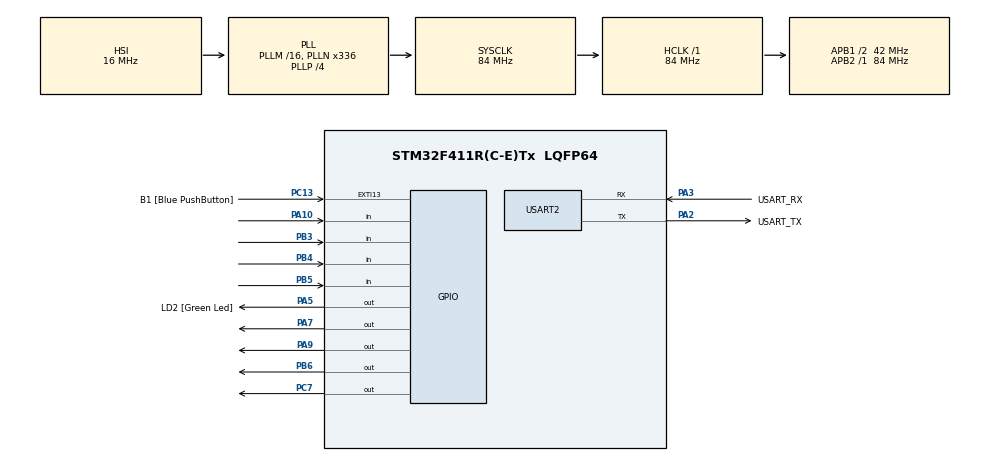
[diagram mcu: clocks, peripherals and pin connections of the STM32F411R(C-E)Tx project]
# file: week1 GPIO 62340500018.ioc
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Mcu.Family=STM32F4
Mcu.Name=STM32F411R(C-E)Tx
Mcu.Package=LQFP64
NVIC.PriorityGroup=NVIC_PRIORITYGROUP_0
PA10.Signal=GPIO_Input
PA13.GPIO_Label=TMS
PA13.Mode=Serial_Wire
PA13.Signal=SYS_JTMS-SWDIO
PA14.GPIO_Label=TCK
PA14.Mode=Serial_Wire
PA14.Signal=SYS_JTCK-SWCLK
PA2.GPIO_Label=USART_TX
PA2.Mode=Asynchronous
PA2.Signal=USART2_TX
PA3.GPIO_Label=USART_RX
PA3.Mode=Asynchronous
PA3.Signal=USART2_RX
PA5.GPIO_Label=LD2 [Green Led]
PA5.Signal=GPIO_Output
PA7.Signal=GPIO_Output
PA9.Signal=GPIO_Output
PB3.Signal=GPIO_Input
PB4.Signal=GPIO_Input
PB5.Signal=GPIO_Input
PB6.Signal=GPIO_Output
PC13-ANTI_TAMP.GPIO_Label=B1 [Blue PushButton]
PC13-ANTI_TAMP.GPIO_ModeDefaultEXTI=GPIO_MODE_IT_FALLING
PC13-ANTI_TAMP.Signal=GPXTI13
PC14-OSC32_IN.Mode=LSE-External-Oscillator
PC14-OSC32_IN.Signal=RCC_OSC32_IN
PC15-OSC32_OUT.Mode=LSE-External-Oscillator
PC15-OSC32_OUT.Signal=RCC_OSC32_OUT
PC7.Signal=GPIO_Output
PH0\ -\ OSC_IN.Mode=HSE-External-Clock-Source
PH0\ -\ OSC_IN.Signal=RCC_OSC_IN
PH1\ -\ OSC_OUT.Mode=HSE-External-Clock-Source
PH1\ -\ OSC_OUT.Signal=RCC_OSC_OUT
ProjectManager.HeapSize=0x200
ProjectManager.StackSize=0x400
ProjectManager.TargetToolchain=STM32CubeIDE
RCC.48MHZClocksFreq_Value=84000000
RCC.AHBFreq_Value=84000000
RCC.APB1CLKDivider=RCC_HCLK_DIV2
RCC.APB1Freq_Value=42000000
RCC.APB1TimFreq_Value=84000000
RCC.APB2Freq_Value=84000000
RCC.APB2TimFreq_Value=84000000
RCC.CortexFreq_Value=84000000
RCC.FLatency-AdvancedSettings=FLASH_LATENCY_2
RCC.HCLKFreq_Value=84000000
RCC.HSE_VALUE=8000000
RCC.HSI_VALUE=16000000
RCC.PLLN=336
RCC.PLLP=RCC_PLLP_DIV4
RCC.SYSCLKFreq_VALUE=84000000
RCC.SYSCLKSource=RCC_SYSCLKSOURCE_PLLCLK
RCC.VCOOutputFreq_Value=336000000
USART2.VirtualMode=VM_ASYNC
board=NUCLEO-F411RE

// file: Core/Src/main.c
/* USER CODE BEGIN Header */
/**
 ******************************************************************************
 * @file           : main.c
 * @brief          : Main program body
 ******************************************************************************
 * @attention
 *
 * <h2><center>&copy; Copyright (c) 2021 STMicroelectronics.
 * All rights reserved.</center></h2>
 *
 * This software component is licensed by ST under BSD 3-Clause license,
 * the "License"; You may not use this file except in compliance with the
 * License. You may obtain a copy of the License at:
 *                        opensource.org/licenses/BSD-3-Clause
 *
 ******************************************************************************
 */
/* USER CODE END Header */
#include "main.h"

UART_HandleTypeDef huart2;

void SystemClock_Config(void);
static void MX_GPIO_Init(void);
static void MX_USART2_UART_Init(void);

int main(void) {

	/* MCU Configuration--------------------------------------------------------*/

	/* Reset of all peripherals, Initializes the Flash interface and the Systick. */
	HAL_Init();

	/* Configure the system clock */
	SystemClock_Config();

	/* Initialize all configured peripherals */
	MX_GPIO_Init();
	MX_USART2_UART_Init();
	/* USER CODE BEGIN 2 */
	//--------------------------------------------------------------------------------------------------
	uint32_t ButtonTimeStamp = 0;

	GPIO_PinState Switch_1_State[2]; // now,last
	uint16_t LED1_frequency = 1; // 0.5Hz
	uint32_t LED1_TimeStamp = 0;

	GPIO_PinState Switch_2_State[2]; // now,last
	uint8_t Button2_Pressed = 0;

	GPIO_PinState Switch_3_State[2]; // now,last
	uint32_t LED3_TimeStamp = 0;
	uint8_t LED3_Mode = 1; //Normal
	uint16_t LED3_Time_1 = 1500;
	uint16_t LED3_Time_2 = 500;
	uint16_t LED3_ON = LED3_Time_2;
	uint16_t LED3_OFF = LED3_Time_1;

	GPIO_PinState Switch_4_State[2]; // now,last
	uint32_t LED4_TimeStamp = 0;
	uint16_t LED4_FullBilnk = 1;
	uint16_t LED4_TimeON = 0;
	uint16_t LED4_PWM = 0;

	//--------------------------------------------------------------------------------------------------
	/* USER CODE END 2 */

	/* Infinite loop */
	/* USER CODE BEGIN WHILE */
	while (1) {
		uint16_t LED1_HalfPeriod = 1000 / (LED1_frequency);
		if (HAL_GetTick() - ButtonTimeStamp >= 150) {
			// switch1 control
			Switch_1_State[0] = HAL_GPIO_ReadPin(GPIOA, GPIO_PIN_10);
			if (Switch_1_State[1] == GPIO_PIN_SET
					&& Switch_1_State[0] == GPIO_PIN_RESET) {
				// Change Half Period of LED 1
				switch (LED1_frequency) {
				case (1):
					LED1_frequency = 2;
					break;
				case (2):
					LED1_frequency = 4;
					break;
				case (4):
					LED1_frequency = 6;
					break;
				default:
					LED1_frequency = 1;
					break;
				}
			}
			Switch_1_State[1] = Switch_1_State[0];

			//switch2 control
			Switch_2_State[0] = HAL_GPIO_ReadPin(GPIOB, GPIO_PIN_3);
			if (Switch_2_State[1] == GPIO_PIN_SET
					&& Switch_2_State[0] == GPIO_PIN_RESET) {
				// Change LED 2
				if (HAL_GPIO_ReadPin(GPIOC, GPIO_PIN_7) == GPIO_PIN_SET) {
					HAL_GPIO_WritePin(GPIOC, GPIO_PIN_7, GPIO_PIN_RESET);
				} else {
					HAL_GPIO_WritePin(GPIOC, GPIO_PIN_7, GPIO_PIN_SET);
				}
			}
			Switch_2_State[1] = Switch_2_State[0];

			//switch3 control
			Switch_3_State[0] = HAL_GPIO_ReadPin(GPIOB, GPIO_PIN_5);
			if (Switch_3_State[1] == GPIO_PIN_SET
					&& Switch_3_State[0] == GPIO_PIN_RESET) {
				// Change LED 3
				if (LED3_Mode == 0) {
					LED3_ON = LED3_Time_1;
					LED3_OFF = LED3_Time_2;
					LED3_Mode = 1;
				} else {
					LED3_ON = LED3_Time_2;
					LED3_OFF = LED3_Time_1;
					LED3_Mode = 0;
				}

			}
			Switch_3_State[1] = Switch_3_State[0];

			//switch4 control
			Switch_4_State[0] = HAL_GPIO_ReadPin(GPIOB, GPIO_PIN_4);
			if (Switch_4_State[1] == GPIO_PIN_SET
					&& Switch_4_State[0] == GPIO_PIN_RESET) {
				// Change LED 4
				switch (LED4_PWM) {
				case (0):
					LED4_TimeON = LED4_FullBilnk * 0;
					LED4_PWM = 25;
				case (25):
					LED4_TimeON = LED4_FullBilnk * 25;
					LED4_PWM = 50;
				case (50):
					LED4_TimeON = LED4_FullBilnk * 50;
					LED4_PWM = 75;
				case (75):
					LED4_TimeON = LED4_FullBilnk * 75;
					LED4_PWM = 100;
				default:
					LED4_TimeON = LED4_FullBilnk;
					LED4_PWM = 0;
				}

			}
			Switch_4_State[1] = Switch_4_State[0];
		}
		// Run LED
		if (HAL_GetTick() - LED1_TimeStamp >= LED1_HalfPeriod) {
			LED1_TimeStamp = HAL_GetTick();
			if (HAL_GPIO_ReadPin(GPIOA, GPIO_PIN_9) == GPIO_PIN_SET) {
				HAL_GPIO_WritePin(GPIOA, GPIO_PIN_9, GPIO_PIN_RESET);
			} else {
				HAL_GPIO_WritePin(GPIOA, GPIO_PIN_9, GPIO_PIN_SET);
			}
		}

		if ((HAL_GPIO_ReadPin(GPIOB, GPIO_PIN_6) == GPIO_PIN_RESET)) {
			if (HAL_GetTick() - LED3_TimeStamp >= LED3_ON) {
				LED3_TimeStamp = HAL_GetTick();
				HAL_GPIO_WritePin(GPIOB, GPIO_PIN_6, GPIO_PIN_SET);
			}
		}
		if ((HAL_GPIO_ReadPin(GPIOB, GPIO_PIN_6) == GPIO_PIN_SET)) {
			if (HAL_GetTick() - LED3_TimeStamp >= LED3_OFF) {
				LED3_TimeStamp = HAL_GetTick();
				HAL_GPIO_WritePin(GPIOB, GPIO_PIN_6, GPIO_PIN_RESET);
			}
		}

		if ((HAL_GPIO_ReadPin(GPIOA, GPIO_PIN_7) == GPIO_PIN_RESET)) {
			if (HAL_GetTick() - LED4_TimeStamp
					>= LED4_TimeON) {
				LED4_TimeStamp = HAL_GetTick();
				HAL_GPIO_WritePin(GPIOA, GPIO_PIN_7, GPIO_PIN_SET);
			}
		}
		if ((HAL_GPIO_ReadPin(GPIOA, GPIO_PIN_7) == GPIO_PIN_SET)) {
			if (HAL_GetTick() - LED4_TimeStamp >= (LED4_FullBilnk - LED4_TimeON)) {
				LED4_TimeStamp = HAL_GetTick();
				HAL_GPIO_WritePin(GPIOA, GPIO_PIN_7, GPIO_PIN_RESET);
			}
		}
	}

	/* USER CODE END WHILE */

}

void SystemClock_Config(void) {
	RCC_OscInitTypeDef RCC_OscInitStruct = { 0 };
	RCC_ClkInitTypeDef RCC_ClkInitStruct = { 0 };

	/** Configure the main internal regulator output voltage
	 */
	__HAL_RCC_PWR_CLK_ENABLE();
	__HAL_PWR_VOLTAGESCALING_CONFIG(PWR_REGULATOR_VOLTAGE_SCALE1);
	/** Initializes the RCC Oscillators according to the specified parameters
	 * in the RCC_OscInitTypeDef structure.
	 */
	RCC_OscInitStruct.OscillatorType = RCC_OSCILLATORTYPE_HSI;
	RCC_OscInitStruct.HSIState = RCC_HSI_ON;
	RCC_OscInitStruct.HSICalibrationValue = RCC_HSICALIBRATION_DEFAULT;
	RCC_OscInitStruct.PLL.PLLState = RCC_PLL_ON;
	RCC_OscInitStruct.PLL.PLLSource = RCC_PLLSOURCE_HSI;
	RCC_OscInitStruct.PLL.PLLM = 16;
	RCC_OscInitStruct.PLL.PLLN = 336;
	RCC_OscInitStruct.PLL.PLLP = RCC_PLLP_DIV4;
	RCC_OscInitStruct.PLL.PLLQ = 4;
	if (HAL_RCC_OscConfig(&RCC_OscInitStruct) != HAL_OK) {
		Error_Handler();
	}
	/** Initializes the CPU, AHB and APB buses clocks
	 */
	RCC_ClkInitStruct.ClockType = RCC_CLOCKTYPE_HCLK | RCC_CLOCKTYPE_SYSCLK
			| RCC_CLOCKTYPE_PCLK1 | RCC_CLOCKTYPE_PCLK2;
	RCC_ClkInitStruct.SYSCLKSource = RCC_SYSCLKSOURCE_PLLCLK;
	RCC_ClkInitStruct.AHBCLKDivider = RCC_SYSCLK_DIV1;
	RCC_ClkInitStruct.APB1CLKDivider = RCC_HCLK_DIV2;
	RCC_ClkInitStruct.APB2CLKDivider = RCC_HCLK_DIV1;

	if (HAL_RCC_ClockConfig(&RCC_ClkInitStruct, FLASH_LATENCY_2) != HAL_OK) {
		Error_Handler();
	}
}

static void MX_USART2_UART_Init(void) {

	huart2.Instance = USART2;
	huart2.Init.BaudRate = 115200;
	huart2.Init.WordLength = UART_WORDLENGTH_8B;
	huart2.Init.StopBits = UART_STOPBITS_1;
	huart2.Init.Parity = UART_PARITY_NONE;
	huart2.Init.Mode = UART_MODE_TX_RX;
	huart2.Init.HwFlowCtl = UART_HWCONTROL_NONE;
	huart2.Init.OverSampling = UART_OVERSAMPLING_16;
	if (HAL_UART_Init(&huart2) != HAL_OK) {
		Error_Handler();
	}

}

static void MX_GPIO_Init(void) {
	GPIO_InitTypeDef GPIO_InitStruct = { 0 };

	/* GPIO Ports Clock Enable */
	__HAL_RCC_GPIOC_CLK_ENABLE();
	__HAL_RCC_GPIOH_CLK_ENABLE();
	__HAL_RCC_GPIOA_CLK_ENABLE();
	__HAL_RCC_GPIOB_CLK_ENABLE();

	/*Configure GPIO pin Output Level */
	HAL_GPIO_WritePin(GPIOA, LD2_Pin | GPIO_PIN_7 | GPIO_PIN_9, GPIO_PIN_RESET);

	/*Configure GPIO pin Output Level */
	HAL_GPIO_WritePin(GPIOC, GPIO_PIN_7, GPIO_PIN_RESET);

	/*Configure GPIO pin Output Level */
	HAL_GPIO_WritePin(GPIOB, GPIO_PIN_6, GPIO_PIN_RESET);

	/*Configure GPIO pin : B1_Pin */
	GPIO_InitStruct.Pin = B1_Pin;
	GPIO_InitStruct.Mode = GPIO_MODE_IT_FALLING;
	GPIO_InitStruct.Pull = GPIO_NOPULL;
	HAL_GPIO_Init(B1_GPIO_Port, &GPIO_InitStruct);

	/*Configure GPIO pins : LD2_Pin PA7 PA9 */
	GPIO_InitStruct.Pin = LD2_Pin | GPIO_PIN_7 | GPIO_PIN_9;
	GPIO_InitStruct.Mode = GPIO_MODE_OUTPUT_PP;
	GPIO_InitStruct.Pull = GPIO_NOPULL;
	GPIO_InitStruct.Speed = GPIO_SPEED_FREQ_LOW;
	HAL_GPIO_Init(GPIOA, &GPIO_InitStruct);

	/*Configure GPIO pin : PC7 */
	GPIO_InitStruct.Pin = GPIO_PIN_7;
	GPIO_InitStruct.Mode = GPIO_MODE_OUTPUT_PP;
	GPIO_InitStruct.Pull = GPIO_NOPULL;
	GPIO_InitStruct.Speed = GPIO_SPEED_FREQ_LOW;
	HAL_GPIO_Init(GPIOC, &GPIO_InitStruct);

	/*Configure GPIO pin : PA10 */
	GPIO_InitStruct.Pin = GPIO_PIN_10;
	GPIO_InitStruct.Mode = GPIO_MODE_INPUT;
	GPIO_InitStruct.Pull = GPIO_NOPULL;
	HAL_GPIO_Init(GPIOA, &GPIO_InitStruct);

	/*Configure GPIO pins : PB3 PB4 PB5 */
	GPIO_InitStruct.Pin = GPIO_PIN_3 | GPIO_PIN_4 | GPIO_PIN_5;
	GPIO_InitStruct.Mode = GPIO_MODE_INPUT;
	GPIO_InitStruct.Pull = GPIO_NOPULL;
	HAL_GPIO_Init(GPIOB, &GPIO_InitStruct);

	/*Configure GPIO pin : PB6 */
	GPIO_InitStruct.Pin = GPIO_PIN_6;
	GPIO_InitStruct.Mode = GPIO_MODE_OUTPUT_PP;
	GPIO_InitStruct.Pull = GPIO_NOPULL;
	GPIO_InitStruct.Speed = GPIO_SPEED_FREQ_LOW;
	HAL_GPIO_Init(GPIOB, &GPIO_InitStruct);

}

void Error_Handler(void) {
	__disable_irq();
	while (1) {
	}
}

/************************ (C) COPYRIGHT STMicroelectronics *****END OF FILE****/
